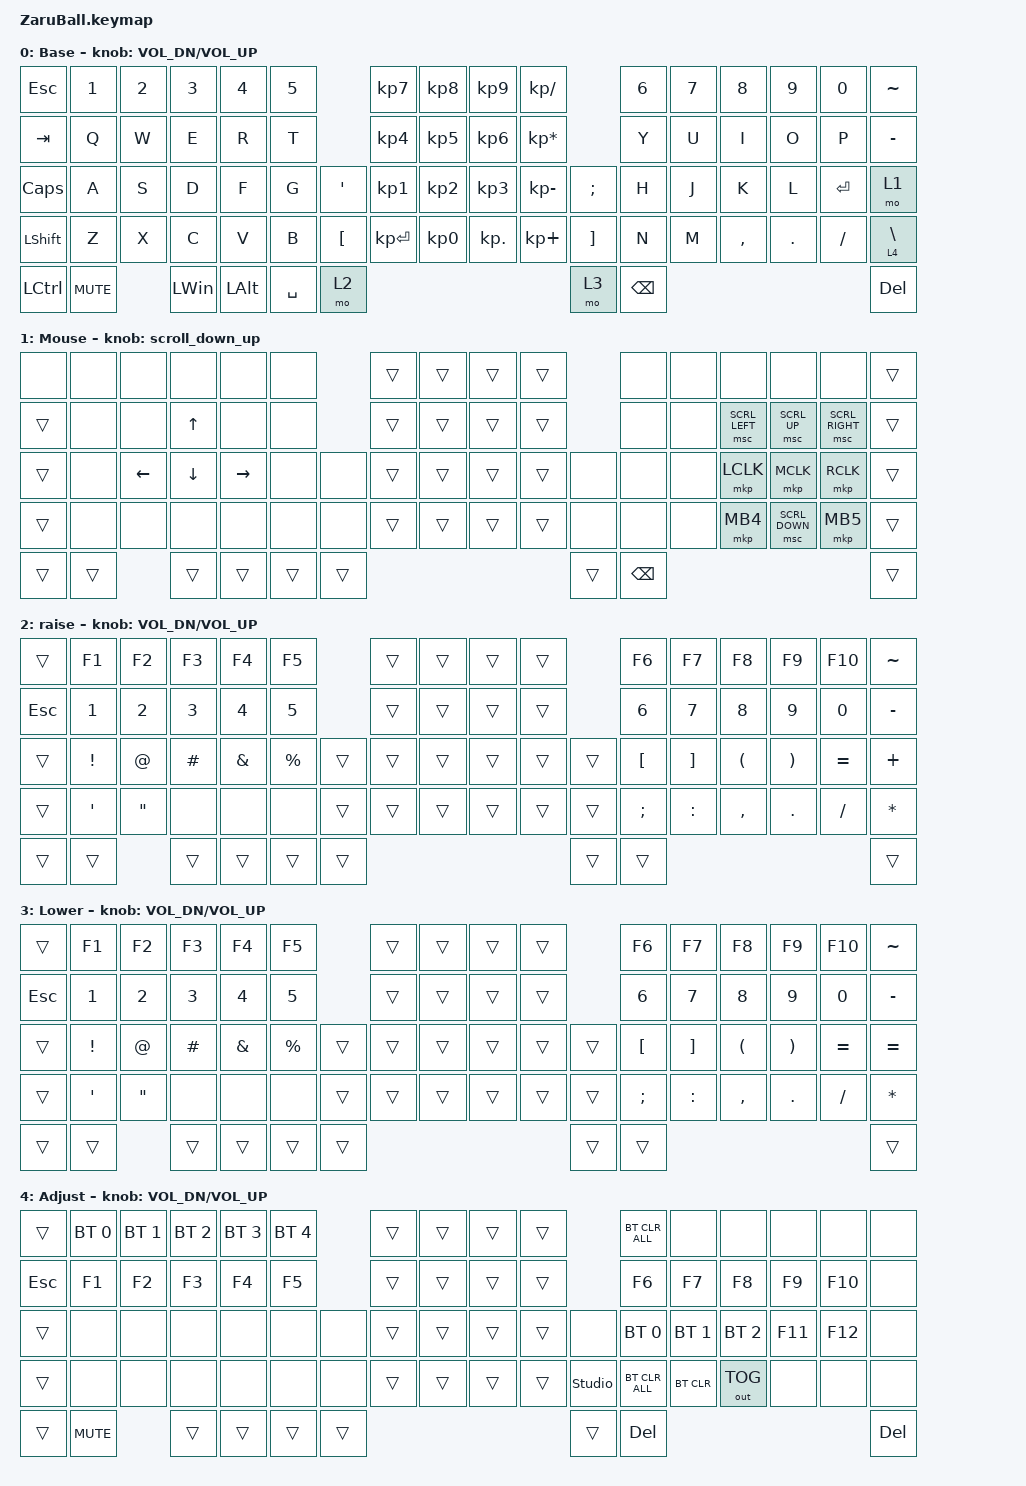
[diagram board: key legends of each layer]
//#include <dt-bindings/zmk/mouse.h>

#include <behaviors/rgbled_widget.dtsi>
#include <behaviors/naginata.dtsi>
#include <behaviors.dtsi>
#include <dt-bindings/zmk/bt.h>
#include <dt-bindings/zmk/keys.h>
#include <dt-bindings/zmk/outputs.h>
#include <dt-bindings/zmk/pointing.h>

#define BASE     0
#define MOUSE    1
#define LOWER    2
#define RAISE    3
#define ADJUST   4
#define SCROLL   2

// スクロール量の設定

#define ZMK_POINTING_DEFAULT_SCRL_VAL 100

/ {
    conditional_layers {
        compatible = "zmk,conditional-layers";

        tri_layer {
            if-layers = <3 2>;
            then-layer = <4>;
        };
    };
};

/ {
    behaviors {
        // スクロール用のbehaviorの設定

        scroll_down_up: behavior_sensor_rotate_mouse_wheel_down_up {
            compatible = "zmk,behavior-sensor-rotate";
            #sensor-binding-cells = <0>;
            bindings = <&msc SCRL_DOWN>, <&msc SCRL_UP>;

            tap-ms = <20>; // スクロールのタップ時間
        };

        td0: tap_dance_0 {
            compatible = "zmk,behavior-tap-dance";
            #binding-cells = <0>;
            tapping-term-ms = <200>;
            bindings = <&mt LALT LANG2>, <&mo 0>, <&mo 1>;
        };

        td1: tap_dance_1 {
            compatible = "zmk,behavior-tap-dance";
            #binding-cells = <0>;
            tapping-term-ms = <200>;
            bindings = <&mt RCTL LANG1>, <&mo 0>, <&mo 1>;
        };

        // Customed Hold-Tap for SandS

        SandS: SandS {
            compatible = "zmk,behavior-hold-tap";
            #binding-cells = <2>;
            flavor = "tap-unless-interrupted";
            tapping-term-ms = <500>;
            quick-tap-ms = <500>;
            bindings = <&kp>, <&kp>;

            display-name = "SandS";
        };
    };
};

&sl { release-after-ms = <250>; }; // time needed for double click (for mkp_exit_AML)
/ {
    macros {
        // When in AML, move to default layer when key (except mouse button) pressed
        // When LCLK pressed, exit AML (after 250ms cause by sticky layer
    };
};

/ {
    keymap {
        compatible = "zmk,keymap";

        base_layer {
            display-name = "Base";
            sensor-bindings = <&inc_dec_kp C_VOL_DN C_VOL_UP>;
            bindings = <
&kp ESC    &kp N1      &kp N2  &kp N3    &kp N4        &kp N5                         &kp KP_N7     &kp KP_N8  &kp KP_N9   &kp KP_DIVIDE                         &kp NUMBER_6  &kp N7  &kp N8     &kp N9   &kp N0     &kp TILDE
&kp TAB    &kp Q       &kp W   &kp E     &kp R         &kp T                          &kp KP_N4     &kp KP_N5  &kp KP_N6   &kp KP_MULTIPLY                       &kp Y         &kp U   &kp I      &kp O    &kp P      &kp MINUS
&kp CAPS   &kp A       &kp S   &kp D     &kp F         &kp G      &kp APOS            &kp KP_N1     &kp KP_N2  &kp KP_N3   &kp KP_MINUS       &kp SEMI           &kp H         &kp J   &kp K      &kp L    &kp ENTER  &mo 1
&kp LSHFT  &kp Z       &kp X   &kp C     &kp V         &kp B      &kp LEFT_BRACKET    &kp KP_ENTER  &kp KP_N0  &kp KP_DOT  &kp KP_PLUS        &kp RIGHT_BRACKET  &kp N         &kp M   &kp COMMA  &kp DOT  &kp FSLH   &lt 4 BACKSLASH
&kp LCTRL  &kp C_MUTE          &kp LWIN  &kp LEFT_ALT  &kp SPACE  &mo 2                                                                       &mo 3              &kp BSPC                                             &kp DEL
            >;
        };

        mouse_layer {
            display-name = "Mouse";
            sensor-bindings = <&scroll_down_up>;
            bindings = <
&none   &none   &none           &none           &none            &none             &trans  &trans  &trans  &trans            &none     &none  &none           &none           &none            &trans
&trans  &none   &none           &kp UP_ARROW    &none            &none             &trans  &trans  &trans  &trans            &none     &none  &msc SCRL_LEFT  &msc SCRL_UP    &msc SCRL_RIGHT  &trans
&trans  &none   &kp LEFT_ARROW  &kp DOWN_ARROW  &kp RIGHT_ARROW  &none   &none     &trans  &trans  &trans  &trans    &none   &none     &none  &mkp LCLK       &mkp MCLK       &mkp RCLK        &trans
&trans  &none   &none           &none           &none            &none   &none     &trans  &trans  &trans  &trans    &none   &none     &none  &mkp MB4        &msc SCRL_DOWN  &mkp MB5         &trans
&trans  &trans                  &trans          &trans           &trans  &trans                                      &trans  &kp BSPC                                                          &trans
            >;
        };

        raise_layer {
            bindings = <
&trans      &kp F1        &kp F2             &kp F3        &kp F4         &kp F5                  &trans  &trans  &trans  &trans            &kp F6            &kp F7             &kp F8                &kp F9                 &kp F10       &kp TILDE
&kp ESCAPE  &kp NUMBER_1  &kp NUMBER_2       &kp NUMBER_3  &kp NUMBER_4   &kp NUMBER_5            &trans  &trans  &trans  &trans            &kp NUMBER_6      &kp NUMBER_7       &kp NUMBER_8          &kp NUMBER_9           &kp NUMBER_0  &kp MINUS
&trans      &kp EXCL      &kp AT             &kp HASH      &kp AMPERSAND  &kp PERCENT   &trans    &trans  &trans  &trans  &trans    &trans  &kp LEFT_BRACKET  &kp RIGHT_BRACKET  &kp LEFT_PARENTHESIS  &kp RIGHT_PARENTHESIS  &kp EQUAL     &kp PLUS
&trans      &kp APOS      &kp DOUBLE_QUOTES  &none         &none          &none         &trans    &trans  &trans  &trans  &trans    &trans  &kp SEMI          &kp COLON          &kp COMMA             &kp DOT                &kp FSLH      &kp ASTRK
&trans      &trans                           &trans        &trans         &trans        &trans                                      &trans  &trans                                                                                          &trans
            >;

            label = "raise";
            sensor-bindings = <&inc_dec_kp C_VOL_DN C_VOL_UP>;
        };

        lower_layer {
            display-name = "Lower";
            sensor-bindings = <&inc_dec_kp C_VOL_DN C_VOL_UP>;
            bindings = <
&trans      &kp F1            &kp F2             &kp F3        &kp F4         &kp F5                  &trans  &trans  &trans  &trans            &kp F6            &kp F7             &kp F8                &kp F9                 &kp F10       &kp TILDE
&kp ESCAPE  &kp NUMBER_1      &kp NUMBER_2       &kp NUMBER_3  &kp NUMBER_4   &kp NUMBER_5            &trans  &trans  &trans  &trans            &kp NUMBER_6      &kp NUMBER_7       &kp NUMBER_8          &kp NUMBER_9           &kp NUMBER_0  &kp MINUS
&trans      &kp EXCLAMATION   &kp AT_SIGN        &kp HASH      &kp AMPERSAND  &kp PERCENT   &trans    &trans  &trans  &trans  &trans    &trans  &kp LEFT_BRACKET  &kp RIGHT_BRACKET  &kp LEFT_PARENTHESIS  &kp RIGHT_PARENTHESIS  &kp EQUAL     &kp EQUAL
&trans      &kp SINGLE_QUOTE  &kp DOUBLE_QUOTES  &none         &none          &none         &trans    &trans  &trans  &trans  &trans    &trans  &kp SEMICOLON     &kp COLON          &kp COMMA             &kp PERIOD             &kp SLASH     &kp ASTRK
&trans      &trans                               &trans        &trans         &trans        &trans                                      &trans  &trans                                                                                          &trans
            >;
        };

        adjust_layer {
            display-name = "Adjust";
            sensor-bindings = <&inc_dec_kp C_VOL_DN C_VOL_UP>;
            bindings = <
&trans      &bt BT_SEL 0  &bt BT_SEL 1  &bt BT_SEL 2  &bt BT_SEL 3  &bt BT_SEL 4            &trans  &trans  &trans  &trans                    &bt BT_CLR_ALL  &none         &none         &none    &none    &none
&kp ESCAPE  &kp F1        &kp F2        &kp F3        &kp F4        &kp F5                  &trans  &trans  &trans  &trans                    &kp F6          &kp F7        &kp F8        &kp F9   &kp F10  &none
&trans      &none         &none         &none         &none         &none         &none     &trans  &trans  &trans  &trans    &none           &bt BT_SEL 0    &bt BT_SEL 1  &bt BT_SEL 2  &kp F11  &kp F12  &none
&trans      &none         &none         &none         &none         &none         &none     &trans  &trans  &trans  &trans    &studio_unlock  &bt BT_CLR_ALL  &bt BT_CLR    &out OUT_TOG  &none    &none    &none
&trans      &kp C_MUTE                  &trans        &trans        &trans        &trans                                      &trans          &kp DEL                                                       &kp DEL
            >;
        };
    };
};
